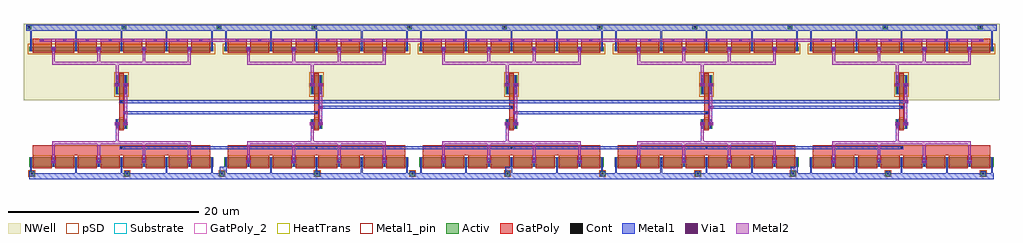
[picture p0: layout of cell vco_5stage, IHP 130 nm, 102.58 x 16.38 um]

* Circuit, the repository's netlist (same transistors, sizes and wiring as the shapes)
* VCO 5-stage ring oscillator — LVS schematic (expanded for ng>1)
* 20 devices: Mnb1-5 (ng=8), Mpd1-5 (ng=1), Mpu1-5 (ng=1), Mpb1-5 (ng=8)
* Ring: vco{i} → Mpd{i+1}.G + Mpu{i+1}.G, vco5 → Mpd1.G + Mpu1.G

.subckt vco_5stage nmos_bias pmos_bias gnd vdd
* --- Stage 1: vco5→gates, output=vco1 ---
MMnb1_0 nb1 nmos_bias gnd gnd sg13_lv_nmos w=1u l=2u ng=1 m=1
MMnb1_1 gnd nmos_bias nb1 gnd sg13_lv_nmos w=1u l=2u ng=1 m=1
MMnb1_2 nb1 nmos_bias gnd gnd sg13_lv_nmos w=1u l=2u ng=1 m=1
MMnb1_3 gnd nmos_bias nb1 gnd sg13_lv_nmos w=1u l=2u ng=1 m=1
MMnb1_4 nb1 nmos_bias gnd gnd sg13_lv_nmos w=1u l=2u ng=1 m=1
MMnb1_5 gnd nmos_bias nb1 gnd sg13_lv_nmos w=1u l=2u ng=1 m=1
MMnb1_6 nb1 nmos_bias gnd gnd sg13_lv_nmos w=1u l=2u ng=1 m=1
MMnb1_7 gnd nmos_bias nb1 gnd sg13_lv_nmos w=1u l=2u ng=1 m=1
MMpd1 vco1 vco5 nb1 gnd sg13_lv_nmos w=1u l=0.5u ng=1 m=1
MMpu1 vco1 vco5 ns1 vdd sg13_lv_pmos w=2u l=0.5u ng=1 m=1
MMpb1_0 ns1 pmos_bias vdd vdd sg13_lv_pmos w=0.5u l=2u ng=1 m=1
MMpb1_1 vdd pmos_bias ns1 vdd sg13_lv_pmos w=0.5u l=2u ng=1 m=1
MMpb1_2 ns1 pmos_bias vdd vdd sg13_lv_pmos w=0.5u l=2u ng=1 m=1
MMpb1_3 vdd pmos_bias ns1 vdd sg13_lv_pmos w=0.5u l=2u ng=1 m=1
MMpb1_4 ns1 pmos_bias vdd vdd sg13_lv_pmos w=0.5u l=2u ng=1 m=1
MMpb1_5 vdd pmos_bias ns1 vdd sg13_lv_pmos w=0.5u l=2u ng=1 m=1
MMpb1_6 ns1 pmos_bias vdd vdd sg13_lv_pmos w=0.5u l=2u ng=1 m=1
MMpb1_7 vdd pmos_bias ns1 vdd sg13_lv_pmos w=0.5u l=2u ng=1 m=1
* --- Stage 2: vco1→gates, output=vco2 ---
MMnb2_0 nb2 nmos_bias gnd gnd sg13_lv_nmos w=1u l=2u ng=1 m=1
MMnb2_1 gnd nmos_bias nb2 gnd sg13_lv_nmos w=1u l=2u ng=1 m=1
MMnb2_2 nb2 nmos_bias gnd gnd sg13_lv_nmos w=1u l=2u ng=1 m=1
MMnb2_3 gnd nmos_bias nb2 gnd sg13_lv_nmos w=1u l=2u ng=1 m=1
MMnb2_4 nb2 nmos_bias gnd gnd sg13_lv_nmos w=1u l=2u ng=1 m=1
MMnb2_5 gnd nmos_bias nb2 gnd sg13_lv_nmos w=1u l=2u ng=1 m=1
MMnb2_6 nb2 nmos_bias gnd gnd sg13_lv_nmos w=1u l=2u ng=1 m=1
MMnb2_7 gnd nmos_bias nb2 gnd sg13_lv_nmos w=1u l=2u ng=1 m=1
MMpd2 vco2 vco1 nb2 gnd sg13_lv_nmos w=1u l=0.5u ng=1 m=1
MMpu2 vco2 vco1 ns2 vdd sg13_lv_pmos w=2u l=0.5u ng=1 m=1
MMpb2_0 ns2 pmos_bias vdd vdd sg13_lv_pmos w=0.5u l=2u ng=1 m=1
MMpb2_1 vdd pmos_bias ns2 vdd sg13_lv_pmos w=0.5u l=2u ng=1 m=1
MMpb2_2 ns2 pmos_bias vdd vdd sg13_lv_pmos w=0.5u l=2u ng=1 m=1
MMpb2_3 vdd pmos_bias ns2 vdd sg13_lv_pmos w=0.5u l=2u ng=1 m=1
MMpb2_4 ns2 pmos_bias vdd vdd sg13_lv_pmos w=0.5u l=2u ng=1 m=1
MMpb2_5 vdd pmos_bias ns2 vdd sg13_lv_pmos w=0.5u l=2u ng=1 m=1
MMpb2_6 ns2 pmos_bias vdd vdd sg13_lv_pmos w=0.5u l=2u ng=1 m=1
MMpb2_7 vdd pmos_bias ns2 vdd sg13_lv_pmos w=0.5u l=2u ng=1 m=1
* --- Stage 3: vco2→gates, output=vco3 ---
MMnb3_0 nb3 nmos_bias gnd gnd sg13_lv_nmos w=1u l=2u ng=1 m=1
MMnb3_1 gnd nmos_bias nb3 gnd sg13_lv_nmos w=1u l=2u ng=1 m=1
MMnb3_2 nb3 nmos_bias gnd gnd sg13_lv_nmos w=1u l=2u ng=1 m=1
MMnb3_3 gnd nmos_bias nb3 gnd sg13_lv_nmos w=1u l=2u ng=1 m=1
MMnb3_4 nb3 nmos_bias gnd gnd sg13_lv_nmos w=1u l=2u ng=1 m=1
MMnb3_5 gnd nmos_bias nb3 gnd sg13_lv_nmos w=1u l=2u ng=1 m=1
MMnb3_6 nb3 nmos_bias gnd gnd sg13_lv_nmos w=1u l=2u ng=1 m=1
MMnb3_7 gnd nmos_bias nb3 gnd sg13_lv_nmos w=1u l=2u ng=1 m=1
MMpd3 vco3 vco2 nb3 gnd sg13_lv_nmos w=1u l=0.5u ng=1 m=1
MMpu3 vco3 vco2 ns3 vdd sg13_lv_pmos w=2u l=0.5u ng=1 m=1
MMpb3_0 ns3 pmos_bias vdd vdd sg13_lv_pmos w=0.5u l=2u ng=1 m=1
MMpb3_1 vdd pmos_bias ns3 vdd sg13_lv_pmos w=0.5u l=2u ng=1 m=1
MMpb3_2 ns3 pmos_bias vdd vdd sg13_lv_pmos w=0.5u l=2u ng=1 m=1
MMpb3_3 vdd pmos_bias ns3 vdd sg13_lv_pmos w=0.5u l=2u ng=1 m=1
MMpb3_4 ns3 pmos_bias vdd vdd sg13_lv_pmos w=0.5u l=2u ng=1 m=1
MMpb3_5 vdd pmos_bias ns3 vdd sg13_lv_pmos w=0.5u l=2u ng=1 m=1
MMpb3_6 ns3 pmos_bias vdd vdd sg13_lv_pmos w=0.5u l=2u ng=1 m=1
MMpb3_7 vdd pmos_bias ns3 vdd sg13_lv_pmos w=0.5u l=2u ng=1 m=1
* --- Stage 4: vco3→gates, output=vco4 ---
MMnb4_0 nb4 nmos_bias gnd gnd sg13_lv_nmos w=1u l=2u ng=1 m=1
MMnb4_1 gnd nmos_bias nb4 gnd sg13_lv_nmos w=1u l=2u ng=1 m=1
MMnb4_2 nb4 nmos_bias gnd gnd sg13_lv_nmos w=1u l=2u ng=1 m=1
MMnb4_3 gnd nmos_bias nb4 gnd sg13_lv_nmos w=1u l=2u ng=1 m=1
MMnb4_4 nb4 nmos_bias gnd gnd sg13_lv_nmos w=1u l=2u ng=1 m=1
MMnb4_5 gnd nmos_bias nb4 gnd sg13_lv_nmos w=1u l=2u ng=1 m=1
MMnb4_6 nb4 nmos_bias gnd gnd sg13_lv_nmos w=1u l=2u ng=1 m=1
MMnb4_7 gnd nmos_bias nb4 gnd sg13_lv_nmos w=1u l=2u ng=1 m=1
MMpd4 vco4 vco3 nb4 gnd sg13_lv_nmos w=1u l=0.5u ng=1 m=1
MMpu4 vco4 vco3 ns4 vdd sg13_lv_pmos w=2u l=0.5u ng=1 m=1
MMpb4_0 ns4 pmos_bias vdd vdd sg13_lv_pmos w=0.5u l=2u ng=1 m=1
MMpb4_1 vdd pmos_bias ns4 vdd sg13_lv_pmos w=0.5u l=2u ng=1 m=1
MMpb4_2 ns4 pmos_bias vdd vdd sg13_lv_pmos w=0.5u l=2u ng=1 m=1
MMpb4_3 vdd pmos_bias ns4 vdd sg13_lv_pmos w=0.5u l=2u ng=1 m=1
MMpb4_4 ns4 pmos_bias vdd vdd sg13_lv_pmos w=0.5u l=2u ng=1 m=1
MMpb4_5 vdd pmos_bias ns4 vdd sg13_lv_pmos w=0.5u l=2u ng=1 m=1
MMpb4_6 ns4 pmos_bias vdd vdd sg13_lv_pmos w=0.5u l=2u ng=1 m=1
MMpb4_7 vdd pmos_bias ns4 vdd sg13_lv_pmos w=0.5u l=2u ng=1 m=1
* --- Stage 5: vco4→gates, output=vco5 ---
MMnb5_0 nb5 nmos_bias gnd gnd sg13_lv_nmos w=1u l=2u ng=1 m=1
MMnb5_1 gnd nmos_bias nb5 gnd sg13_lv_nmos w=1u l=2u ng=1 m=1
MMnb5_2 nb5 nmos_bias gnd gnd sg13_lv_nmos w=1u l=2u ng=1 m=1
MMnb5_3 gnd nmos_bias nb5 gnd sg13_lv_nmos w=1u l=2u ng=1 m=1
MMnb5_4 nb5 nmos_bias gnd gnd sg13_lv_nmos w=1u l=2u ng=1 m=1
MMnb5_5 gnd nmos_bias nb5 gnd sg13_lv_nmos w=1u l=2u ng=1 m=1
MMnb5_6 nb5 nmos_bias gnd gnd sg13_lv_nmos w=1u l=2u ng=1 m=1
MMnb5_7 gnd nmos_bias nb5 gnd sg13_lv_nmos w=1u l=2u ng=1 m=1
MMpd5 vco5 vco4 nb5 gnd sg13_lv_nmos w=1u l=0.5u ng=1 m=1
MMpu5 vco5 vco4 ns5 vdd sg13_lv_pmos w=2u l=0.5u ng=1 m=1
MMpb5_0 ns5 pmos_bias vdd vdd sg13_lv_pmos w=0.5u l=2u ng=1 m=1
MMpb5_1 vdd pmos_bias ns5 vdd sg13_lv_pmos w=0.5u l=2u ng=1 m=1
MMpb5_2 ns5 pmos_bias vdd vdd sg13_lv_pmos w=0.5u l=2u ng=1 m=1
MMpb5_3 vdd pmos_bias ns5 vdd sg13_lv_pmos w=0.5u l=2u ng=1 m=1
MMpb5_4 ns5 pmos_bias vdd vdd sg13_lv_pmos w=0.5u l=2u ng=1 m=1
MMpb5_5 vdd pmos_bias ns5 vdd sg13_lv_pmos w=0.5u l=2u ng=1 m=1
MMpb5_6 ns5 pmos_bias vdd vdd sg13_lv_pmos w=0.5u l=2u ng=1 m=1
MMpb5_7 vdd pmos_bias ns5 vdd sg13_lv_pmos w=0.5u l=2u ng=1 m=1
.ends vco_5stage

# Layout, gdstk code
import gdstk
lib = gdstk.Library(unit=1e-6, precision=1e-09)
def R(c, l, rs):  # rectangles x0, y0, x1, y1
    for r in rs: c.add(gdstk.rectangle(r[:2], r[2:], *l))
def A(c, l, x, y, w, h, nx, ny, dx, dy):  # array of equal rectangles
    R(c, l, [(x+i*dx, y+j*dy, x+i*dx+w, y+j*dy+h) for i in range(nx) for j in range(ny)])
Activ = (1, 0)
GatPoly = (5, 0)
GatPoly_2 = (5, 2)
Cont = (6, 0)
Metal1 = (8, 0)
Metal1_pin = (8, 2)
Metal2 = (10, 0)
pSD = (14, 0)
Via1 = (19, 0)
NWell = (31, 0)
Substrate = (40, 0)
HeatTrans = (51, 0)

nmos = lib.new_cell('nmos')
A(nmos, Activ, 0, 0, 0.3, 0.3, 9, 1, 2.38, 0)
R(nmos, Activ, [(0,0,19.34,1)])
A(nmos, GatPoly, 0.34, -0.18, 2, 1.36, 8, 1, 2.38, 0)
R(nmos, GatPoly_2, [(0.34,-0.18,2.34,1.18)])
A(nmos, Cont, 0.07, 0.07, 0.16, 0.16, 9, 3, 2.38, 0.35)
A(nmos, Metal1, 0.07, 0, 0.16, 1, 9, 1, 2.38, 0)
R(nmos, Metal1_pin, [(0.07,0,0.23,1), (2.45,0,2.61,1)])
A(nmos, HeatTrans, 0.34, -0.18, 2, 1.36, 8, 1, 2.38, 0)
nmos.add(gdstk.Label('nmos', (1.34,0.5), layer=63, texttype=0))
nmos.add(gdstk.Label('nmos', (1.34,0.5), layer=51, texttype=0))
nmos.add(gdstk.Label('nmos', (3.72,0.5), layer=51, texttype=0))
nmos.add(gdstk.Label('nmos', (6.1,0.5), layer=51, texttype=0))
nmos.add(gdstk.Label('nmos', (8.48,0.5), layer=51, texttype=0))
nmos.add(gdstk.Label('nmos', (10.86,0.5), layer=51, texttype=0))
nmos.add(gdstk.Label('nmos', (13.24,0.5), layer=51, texttype=0))
nmos.add(gdstk.Label('nmos', (15.62,0.5), layer=51, texttype=0))
nmos.add(gdstk.Label('nmos', (18,0.5), layer=51, texttype=0))

nmos_1 = lib.new_cell('nmos$1')
R(nmos_1, Activ, [(0,0,0.3,0.3), (0,0,1.18,1), (0.88,0,1.18,0.3)])
R(nmos_1, GatPoly, [(0.34,-0.18,0.84,1.18)])
R(nmos_1, GatPoly_2, [(0.34,-0.18,0.84,1.18)])
A(nmos_1, Cont, 0.07, 0.07, 0.16, 0.16, 1, 3, 0, 0.35)
A(nmos_1, Cont, 0.95, 0.07, 0.16, 0.16, 1, 3, 0, 0.35)
R(nmos_1, Metal1, [(0.07,0,0.23,1), (0.95,0,1.11,1)])
R(nmos_1, Metal1_pin, [(0.07,0,0.23,1), (0.95,0,1.11,1)])
R(nmos_1, HeatTrans, [(0.34,-0.18,0.84,1.18)])
nmos_1.add(gdstk.Label('nmos', (0.59,0.5), layer=63, texttype=0))
nmos_1.add(gdstk.Label('nmos', (0.59,0.5), layer=51, texttype=0))

pmos = lib.new_cell('pmos')
R(pmos, Activ, [(0,0,0.3,0.3), (0,0,1.18,2), (0.88,0,1.18,0.3)])
R(pmos, GatPoly, [(0.34,-0.18,0.84,2.18), (0.34,-0.18,0.84,2.18)])
A(pmos, Cont, 0.07, 0.07, 0.16, 0.16, 1, 6, 0, 0.34)
A(pmos, Cont, 0.95, 0.07, 0.16, 0.16, 1, 6, 0, 0.34)
R(pmos, Metal1, [(0.07,0,0.23,2), (0.07,0,0.23,2), (0.95,0,1.11,2), (0.95,0,1.11,2)])
R(pmos, pSD, [(-0.18,-0.3,1.36,2.3)])
R(pmos, NWell, [(-0.31,-0.31,1.49,2.31)])
R(pmos, Substrate, [(0.88,0,1.18,0.3)])
R(pmos, HeatTrans, [(0.34,-0.18,0.84,2.18)])
pmos.add(gdstk.Label('pmos', (0.59,1), layer=63, texttype=0))
pmos.add(gdstk.Label('pmos', (0.59,1), layer=51, texttype=0))

pmos_1 = lib.new_cell('pmos$1')
A(pmos_1, Activ, 0, 0, 0.3, 0.3, 9, 1, 2.38, 0)
R(pmos_1, Activ, [(0,0,19.34,0.5)])
A(pmos_1, GatPoly, 0.34, -0.18, 2, 0.86, 8, 1, 2.38, 0)
R(pmos_1, GatPoly, [(0.34,-0.18,2.34,0.68)])
A(pmos_1, Cont, 0.07, 0.17, 0.16, 0.16, 9, 1, 2.38, 0)
A(pmos_1, Metal1, 2.45, 0, 0.16, 0.5, 8, 1, 2.38, 0)
R(pmos_1, Metal1, [(0.07,0,0.23,0.5), (0.07,0,0.23,0.5), (2.45,0,2.61,0.5)])
R(pmos_1, pSD, [(-0.18,-0.3,19.52,0.8)])
R(pmos_1, NWell, [(-0.31,-0.31,19.65,0.81)])
R(pmos_1, Substrate, [(19.04,0,19.34,0.3)])
A(pmos_1, HeatTrans, 0.34, -0.18, 2, 0.86, 8, 1, 2.38, 0)
pmos_1.add(gdstk.Label('pmos', (1.34,0.25), layer=63, texttype=0))
pmos_1.add(gdstk.Label('pmos', (1.34,0.25), layer=51, texttype=0))
pmos_1.add(gdstk.Label('pmos', (3.72,0.25), layer=51, texttype=0))
pmos_1.add(gdstk.Label('pmos', (6.1,0.25), layer=51, texttype=0))
pmos_1.add(gdstk.Label('pmos', (8.48,0.25), layer=51, texttype=0))
pmos_1.add(gdstk.Label('pmos', (10.86,0.25), layer=51, texttype=0))
pmos_1.add(gdstk.Label('pmos', (13.24,0.25), layer=51, texttype=0))
pmos_1.add(gdstk.Label('pmos', (15.62,0.25), layer=51, texttype=0))
pmos_1.add(gdstk.Label('pmos', (18,0.25), layer=51, texttype=0))

vco_5stage = lib.new_cell('vco_5stage')
A(vco_5stage, Activ, 0.31, -0.8, 0.5, 0.5, 11, 1, 10, 0)
A(vco_5stage, Activ, 0, 14.62, 0.5, 0.5, 11, 1, 10, 0)
A(vco_5stage, GatPoly, 0.65, 1.36, 18.66, 1.07, 5, 1, 20.5, 0)
A(vco_5stage, GatPoly, 0.65, 1.36, 2, 1.07, 8, 1, 2.38, 0)
A(vco_5stage, GatPoly, 21.15, 1.36, 2, 1.07, 8, 1, 2.38, 0)
A(vco_5stage, GatPoly, 41.65, 1.36, 2, 1.07, 8, 1, 2.38, 0)
A(vco_5stage, GatPoly, 62.15, 1.36, 2, 1.07, 8, 1, 2.38, 0)
A(vco_5stage, GatPoly, 82.65, 1.36, 2, 1.07, 8, 1, 2.38, 0)
A(vco_5stage, GatPoly, 0.65, 12.99, 2, 0.65, 8, 1, 2.38, 0)
A(vco_5stage, GatPoly, 21.15, 12.99, 2, 0.65, 8, 1, 2.38, 0)
A(vco_5stage, GatPoly, 41.65, 12.99, 2, 0.65, 8, 1, 2.38, 0)
A(vco_5stage, GatPoly, 62.15, 12.99, 2, 0.65, 8, 1, 2.38, 0)
A(vco_5stage, GatPoly, 82.65, 12.99, 2, 0.65, 8, 1, 2.38, 0)
R(vco_5stage, GatPoly, [(9.73,5.36,10.23,7.08), (30.23,5.36,30.73,5.94), (50.73,5.36,51.23,6.51), (71.23,5.36,71.73,5.94), (91.73,5.36,92.23,6.51), (30.23,5.78,30.73,7.63), (71.23,5.78,71.73,7.63), (50.73,6.35,51.23,7.63), (91.73,6.35,92.23,7.63), (9.73,6.92,10.23,7.63)])
A(vco_5stage, Cont, 0.48, -0.63, 0.16, 0.16, 11, 1, 10, 0)
A(vco_5stage, Cont, 9.9, 2.1, 0.16, 0.16, 5, 1, 20.5, 0)
A(vco_5stage, Cont, 1.57, 13.41, 0.16, 0.16, 8, 1, 2.38, 0)
A(vco_5stage, Cont, 22.07, 13.41, 0.16, 0.16, 8, 1, 2.38, 0)
A(vco_5stage, Cont, 42.57, 13.41, 0.16, 0.16, 8, 1, 2.38, 0)
A(vco_5stage, Cont, 63.07, 13.41, 0.16, 0.16, 8, 1, 2.38, 0)
A(vco_5stage, Cont, 83.57, 13.41, 0.16, 0.16, 8, 1, 2.38, 0)
A(vco_5stage, Cont, 0.17, 14.79, 0.16, 0.16, 11, 1, 10, 0)
R(vco_5stage, Cont, [(30.4,5.78,30.56,5.94), (71.4,5.78,71.56,5.94), (50.9,6.35,51.06,6.51), (91.9,6.35,92.06,6.51), (9.9,6.92,10.06,7.08)])
A(vco_5stage, Metal1, 0.38, -0.845, 0.16, 1.025, 5, 1, 4.76, 0)
A(vco_5stage, Metal1, 25.64, -0.845, 0.16, 1.025, 4, 1, 4.76, 0)
A(vco_5stage, Metal1, 61.88, -0.845, 0.16, 1.025, 4, 1, 4.76, 0)
A(vco_5stage, Metal1, 82.38, -0.845, 0.16, 1.025, 5, 1, 4.76, 0)
A(vco_5stage, Metal1, 0.31, -0.8, 0.5, 0.5, 11, 1, 10, 0)
A(vco_5stage, Metal1, 9.825, 2.025, 0.31, 0.31, 5, 1, 20.5, 0)
A(vco_5stage, Metal1, 0.38, 12.81, 0.16, 1.655, 5, 1, 4.76, 0)
A(vco_5stage, Metal1, 20.88, 12.81, 0.16, 1.655, 5, 1, 4.76, 0)
A(vco_5stage, Metal1, 41.38, 12.81, 0.16, 1.655, 5, 1, 4.76, 0)
A(vco_5stage, Metal1, 61.88, 12.81, 0.16, 1.655, 5, 1, 4.76, 0)
A(vco_5stage, Metal1, 82.38, 12.81, 0.16, 1.655, 5, 1, 4.76, 0)
A(vco_5stage, Metal1, 1.495, 13.335, 0.31, 0.31, 8, 1, 2.38, 0)
A(vco_5stage, Metal1, 21.995, 13.335, 0.31, 0.31, 8, 1, 2.38, 0)
A(vco_5stage, Metal1, 42.495, 13.335, 0.31, 0.31, 8, 1, 2.38, 0)
A(vco_5stage, Metal1, 62.995, 13.335, 0.31, 0.31, 8, 1, 2.38, 0)
A(vco_5stage, Metal1, 83.495, 13.335, 0.31, 0.31, 8, 1, 2.38, 0)
A(vco_5stage, Metal1, 0, 14.62, 0.5, 0.5, 11, 1, 10, 0)
R(vco_5stage, Metal1, [(0.31,-1.155,101.65,-0.5), (20.31,-0.845,21.04,0.18), (41.38,-0.845,41.54,0.18), (46.14,-0.845,46.3,0.18), (50.31,-0.845,51.06,0.18), (55.66,-0.845,55.82,0.18), (60.42,-0.845,60.58,0.18), (80.31,-0.845,81.08,0.18), (2.685,0.525,2.995,0.835), (7.445,0.525,7.755,0.835), (7.445,0.525,7.755,0.835), (12.205,0.525,12.515,0.835), (12.205,0.525,12.515,0.835), (16.965,0.525,17.275,0.835), (16.965,0.525,17.275,0.835), (23.185,0.525,23.495,0.835), (27.945,0.525,28.255,0.835), (27.945,0.525,28.255,0.835), (32.705,0.525,33.015,0.835), (32.705,0.525,33.015,0.835), (37.465,0.525,37.775,0.835), (37.465,0.525,37.775,0.835), (43.685,0.525,43.995,0.835), (48.445,0.525,48.755,0.835), (48.445,0.525,48.755,0.835), (53.205,0.525,53.515,0.835), (53.205,0.525,53.515,0.835), (57.965,0.525,58.275,0.835), (57.965,0.525,58.275,0.835), (64.185,0.525,64.495,0.835), (68.945,0.525,69.255,0.835), (68.945,0.525,69.255,0.835), (73.705,0.525,74.015,0.835), (73.705,0.525,74.015,0.835), (78.465,0.525,78.775,0.835), (78.465,0.525,78.775,0.835), (84.685,0.525,84.995,0.835), (89.445,0.525,89.755,0.835), (89.445,0.525,89.755,0.835), (94.205,0.525,94.515,0.835), (94.205,0.525,94.515,0.835), (98.965,0.525,99.275,0.835), (98.965,0.525,99.275,0.835), (9.825,2.025,92.135,2.335), (9.385,4.525,9.695,4.835), (10.265,4.525,10.575,4.835), (29.885,4.525,30.195,4.835), (30.765,4.525,31.075,4.835), (50.385,4.525,50.695,4.835), (51.265,4.525,51.575,4.835), (70.885,4.525,71.195,4.835), (71.765,4.525,72.075,4.835), (91.385,4.525,91.695,4.835), (92.265,4.525,92.575,4.835), (10.265,5.705,10.575,6.015), (10.265,5.705,30.635,6.015), (30.325,5.705,30.635,6.015), (51.265,5.705,51.575,6.015), (51.265,5.705,71.635,6.015), (71.325,5.705,71.635,6.015), (30.765,6.275,31.075,6.585), (30.765,6.275,51.135,6.585), (50.825,6.275,51.135,6.585), (71.765,6.275,72.075,6.585), (71.765,6.275,92.135,6.585), (91.825,6.275,92.135,6.585), (9.825,6.845,10.135,7.155), (9.825,6.845,92.575,7.155), (92.265,6.845,92.575,7.155), (9.385,8.655,9.695,8.965), (10.265,8.655,10.575,8.965), (29.885,8.655,30.195,8.965), (30.765,8.655,31.075,8.965), (50.385,8.655,50.695,8.965), (51.265,8.655,51.575,8.965), (70.885,8.655,71.195,8.965), (71.765,8.655,72.075,8.965), (91.385,8.655,91.695,8.965), (92.265,8.655,92.575,8.965), (2.685,12.405,2.995,12.715), (7.445,12.405,7.755,12.715), (7.445,12.405,7.755,12.715), (12.205,12.405,12.515,12.715), (12.205,12.405,12.515,12.715), (16.965,12.405,17.275,12.715), (16.965,12.405,17.275,12.715), (23.185,12.405,23.495,12.715), (27.945,12.405,28.255,12.715), (27.945,12.405,28.255,12.715), (32.705,12.405,33.015,12.715), (32.705,12.405,33.015,12.715), (37.465,12.405,37.775,12.715), (37.465,12.405,37.775,12.715), (43.685,12.405,43.995,12.715), (48.445,12.405,48.755,12.715), (48.445,12.405,48.755,12.715), (53.205,12.405,53.515,12.715), (53.205,12.405,53.515,12.715), (57.965,12.405,58.275,12.715), (57.965,12.405,58.275,12.715), (64.185,12.405,64.495,12.715), (68.945,12.405,69.255,12.715), (68.945,12.405,69.255,12.715), (73.705,12.405,74.015,12.715), (73.705,12.405,74.015,12.715), (78.465,12.405,78.775,12.715), (78.465,12.405,78.775,12.715), (84.685,12.405,84.995,12.715), (89.445,12.405,89.755,12.715), (89.445,12.405,89.755,12.715), (94.205,12.405,94.515,12.715), (94.205,12.405,94.515,12.715), (98.965,12.405,99.275,12.715), (98.965,12.405,99.275,12.715), (0,14.465,101.96,15.12)])
A(vco_5stage, Metal2, 2.69, 0.525, 0.3, 2.31, 4, 1, 4.76, 0)
A(vco_5stage, Metal2, 23.19, 0.525, 0.3, 2.31, 4, 1, 4.76, 0)
A(vco_5stage, Metal2, 43.69, 0.525, 0.3, 2.31, 4, 1, 4.76, 0)
A(vco_5stage, Metal2, 64.19, 0.525, 0.3, 2.31, 4, 1, 4.76, 0)
A(vco_5stage, Metal2, 84.69, 0.525, 0.3, 2.31, 4, 1, 4.76, 0)
A(vco_5stage, Metal2, 2.69, 2.525, 14.58, 0.31, 5, 2, 20.5, 8.38)
A(vco_5stage, Metal2, 9.39, 2.525, 0.3, 2.31, 5, 1, 20.5, 0)
A(vco_5stage, Metal2, 10.27, 4.525, 0.3, 2.06, 5, 1, 20.5, 0)
A(vco_5stage, Metal2, 10.27, 6.275, 0.3, 2.69, 5, 1, 20.5, 0)
A(vco_5stage, Metal2, 10.27, 6.275, 0.3, 0.31, 5, 1, 20.5, 0)
A(vco_5stage, Metal2, 9.39, 8.655, 0.3, 2.56, 5, 1, 20.5, 0)
A(vco_5stage, Metal2, 2.69, 10.905, 0.3, 1.81, 4, 1, 4.76, 0)
A(vco_5stage, Metal2, 23.19, 10.905, 0.3, 1.81, 4, 1, 4.76, 0)
A(vco_5stage, Metal2, 43.69, 10.905, 0.3, 1.81, 4, 1, 4.76, 0)
A(vco_5stage, Metal2, 64.19, 10.905, 0.3, 1.81, 4, 1, 4.76, 0)
A(vco_5stage, Metal2, 84.69, 10.905, 0.3, 1.81, 4, 1, 4.76, 0)
A(vco_5stage, Metal2, 1.405, 13.335, 0.49, 0.31, 8, 1, 2.38, 0)
A(vco_5stage, Metal2, 21.905, 13.335, 0.49, 0.31, 8, 1, 2.38, 0)
A(vco_5stage, Metal2, 42.405, 13.335, 0.49, 0.31, 8, 1, 2.38, 0)
A(vco_5stage, Metal2, 62.905, 13.335, 0.49, 0.31, 8, 1, 2.38, 0)
A(vco_5stage, Metal2, 83.405, 13.335, 0.49, 0.31, 8, 1, 2.38, 0)
R(vco_5stage, Metal2, [(2.595,0.525,3.085,0.835), (7.355,0.525,7.845,0.835), (7.355,0.525,7.845,0.835), (12.115,0.525,12.605,0.835), (12.115,0.525,12.605,0.835), (16.875,0.525,17.365,0.835), (16.875,0.525,17.365,0.835), (23.095,0.525,23.585,0.835), (27.855,0.525,28.345,0.835), (27.855,0.525,28.345,0.835), (32.615,0.525,33.105,0.835), (32.615,0.525,33.105,0.835), (37.375,0.525,37.865,0.835), (37.375,0.525,37.865,0.835), (43.595,0.525,44.085,0.835), (48.355,0.525,48.845,0.835), (48.355,0.525,48.845,0.835), (53.115,0.525,53.605,0.835), (53.115,0.525,53.605,0.835), (57.875,0.525,58.365,0.835), (57.875,0.525,58.365,0.835), (64.095,0.525,64.585,0.835), (68.855,0.525,69.345,0.835), (68.855,0.525,69.345,0.835), (73.615,0.525,74.105,0.835), (73.615,0.525,74.105,0.835), (78.375,0.525,78.865,0.835), (78.375,0.525,78.865,0.835), (84.595,0.525,85.085,0.835), (89.355,0.525,89.845,0.835), (89.355,0.525,89.845,0.835), (94.115,0.525,94.605,0.835), (94.115,0.525,94.605,0.835), (98.875,0.525,99.365,0.835), (98.875,0.525,99.365,0.835), (9.295,4.525,9.785,4.835), (10.175,4.525,10.665,4.835), (29.795,4.525,30.285,4.835), (30.675,4.525,31.165,4.835), (50.295,4.525,50.785,4.835), (51.175,4.525,51.665,4.835), (70.795,4.525,71.285,4.835), (71.675,4.525,72.165,4.835), (91.295,4.525,91.785,4.835), (92.175,4.525,92.665,4.835), (10.175,5.705,10.665,6.015), (10.27,5.705,10.57,6.585), (51.175,5.705,51.665,6.015), (51.27,5.705,51.57,6.585), (30.675,6.275,31.165,6.585), (71.675,6.275,72.165,6.585), (92.27,6.275,92.57,7.155), (92.175,6.845,92.665,7.155), (9.295,8.655,9.785,8.965), (10.175,8.655,10.665,8.965), (29.795,8.655,30.285,8.965), (30.675,8.655,31.165,8.965), (50.295,8.655,50.785,8.965), (51.175,8.655,51.665,8.965), (70.795,8.655,71.285,8.965), (71.675,8.655,72.165,8.965), (91.295,8.655,91.785,8.965), (92.175,8.655,92.665,8.965), (2.595,12.405,3.085,12.715), (7.355,12.405,7.845,12.715), (7.355,12.405,7.845,12.715), (12.115,12.405,12.605,12.715), (12.115,12.405,12.605,12.715), (16.875,12.405,17.365,12.715), (16.875,12.405,17.365,12.715), (23.095,12.405,23.585,12.715), (27.855,12.405,28.345,12.715), (27.855,12.405,28.345,12.715), (32.615,12.405,33.105,12.715), (32.615,12.405,33.105,12.715), (37.375,12.405,37.865,12.715), (37.375,12.405,37.865,12.715), (43.595,12.405,44.085,12.715), (48.355,12.405,48.845,12.715), (48.355,12.405,48.845,12.715), (53.115,12.405,53.605,12.715), (53.115,12.405,53.605,12.715), (57.875,12.405,58.365,12.715), (57.875,12.405,58.365,12.715), (64.095,12.405,64.585,12.715), (68.855,12.405,69.345,12.715), (68.855,12.405,69.345,12.715), (73.615,12.405,74.105,12.715), (73.615,12.405,74.105,12.715), (78.375,12.405,78.865,12.715), (78.375,12.405,78.865,12.715), (84.595,12.405,85.085,12.715), (89.355,12.405,89.845,12.715), (89.355,12.405,89.845,12.715), (94.115,12.405,94.605,12.715), (94.115,12.405,94.605,12.715), (98.875,12.405,99.365,12.715), (98.875,12.405,99.365,12.715), (1.5,13.335,100.46,13.645)])
A(vco_5stage, pSD, 0.21, -0.9, 0.7, 0.7, 11, 1, 10, 0)
A(vco_5stage, Via1, 1.555, 13.395, 0.19, 0.19, 8, 1, 2.38, 0)
A(vco_5stage, Via1, 22.055, 13.395, 0.19, 0.19, 8, 1, 2.38, 0)
A(vco_5stage, Via1, 42.555, 13.395, 0.19, 0.19, 8, 1, 2.38, 0)
A(vco_5stage, Via1, 63.055, 13.395, 0.19, 0.19, 8, 1, 2.38, 0)
A(vco_5stage, Via1, 83.555, 13.395, 0.19, 0.19, 8, 1, 2.38, 0)
R(vco_5stage, Via1, [(2.745,0.585,2.935,0.775), (7.505,0.585,7.695,0.775), (7.505,0.585,7.695,0.775), (12.265,0.585,12.455,0.775), (12.265,0.585,12.455,0.775), (17.025,0.585,17.215,0.775), (17.025,0.585,17.215,0.775), (23.245,0.585,23.435,0.775), (28.005,0.585,28.195,0.775), (28.005,0.585,28.195,0.775), (32.765,0.585,32.955,0.775), (32.765,0.585,32.955,0.775), (37.525,0.585,37.715,0.775), (37.525,0.585,37.715,0.775), (43.745,0.585,43.935,0.775), (48.505,0.585,48.695,0.775), (48.505,0.585,48.695,0.775), (53.265,0.585,53.455,0.775), (53.265,0.585,53.455,0.775), (58.025,0.585,58.215,0.775), (58.025,0.585,58.215,0.775), (64.245,0.585,64.435,0.775), (69.005,0.585,69.195,0.775), (69.005,0.585,69.195,0.775), (73.765,0.585,73.955,0.775), (73.765,0.585,73.955,0.775), (78.525,0.585,78.715,0.775), (78.525,0.585,78.715,0.775), (84.745,0.585,84.935,0.775), (89.505,0.585,89.695,0.775), (89.505,0.585,89.695,0.775), (94.265,0.585,94.455,0.775), (94.265,0.585,94.455,0.775), (99.025,0.585,99.215,0.775), (99.025,0.585,99.215,0.775), (9.445,4.585,9.635,4.775), (10.325,4.585,10.515,4.775), (29.945,4.585,30.135,4.775), (30.825,4.585,31.015,4.775), (50.445,4.585,50.635,4.775), (51.325,4.585,51.515,4.775), (70.945,4.585,71.135,4.775), (71.825,4.585,72.015,4.775), (91.445,4.585,91.635,4.775), (92.325,4.585,92.515,4.775), (10.325,5.765,10.515,5.955), (51.325,5.765,51.515,5.955), (30.825,6.335,31.015,6.525), (71.825,6.335,72.015,6.525), (92.325,6.905,92.515,7.095), (9.445,8.715,9.635,8.905), (10.325,8.715,10.515,8.905), (29.945,8.715,30.135,8.905), (30.825,8.715,31.015,8.905), (50.445,8.715,50.635,8.905), (51.325,8.715,51.515,8.905), (70.945,8.715,71.135,8.905), (71.825,8.715,72.015,8.905), (91.445,8.715,91.635,8.905), (92.325,8.715,92.515,8.905), (2.745,12.465,2.935,12.655), (7.505,12.465,7.695,12.655), (7.505,12.465,7.695,12.655), (12.265,12.465,12.455,12.655), (12.265,12.465,12.455,12.655), (17.025,12.465,17.215,12.655), (17.025,12.465,17.215,12.655), (23.245,12.465,23.435,12.655), (28.005,12.465,28.195,12.655), (28.005,12.465,28.195,12.655), (32.765,12.465,32.955,12.655), (32.765,12.465,32.955,12.655), (37.525,12.465,37.715,12.655), (37.525,12.465,37.715,12.655), (43.745,12.465,43.935,12.655), (48.505,12.465,48.695,12.655), (48.505,12.465,48.695,12.655), (53.265,12.465,53.455,12.655), (53.265,12.465,53.455,12.655), (58.025,12.465,58.215,12.655), (58.025,12.465,58.215,12.655), (64.245,12.465,64.435,12.655), (69.005,12.465,69.195,12.655), (69.005,12.465,69.195,12.655), (73.765,12.465,73.955,12.655), (73.765,12.465,73.955,12.655), (78.525,12.465,78.715,12.655), (78.525,12.465,78.715,12.655), (84.745,12.465,84.935,12.655), (89.505,12.465,89.695,12.655), (89.505,12.465,89.695,12.655), (94.265,12.465,94.455,12.655), (94.265,12.465,94.455,12.655), (99.025,12.465,99.215,12.655), (99.025,12.465,99.215,12.655)])
R(vco_5stage, NWell, [(-0.31,7.19,102.27,15.22)])
vco_5stage.add(gdstk.Reference(nmos, (0.31,0.18)))
vco_5stage.add(gdstk.Reference(nmos, (20.81,0.18)))
vco_5stage.add(gdstk.Reference(nmos, (41.31,0.18)))
vco_5stage.add(gdstk.Reference(nmos, (61.81,0.18)))
vco_5stage.add(gdstk.Reference(nmos, (82.31,0.18)))
vco_5stage.add(gdstk.Reference(nmos_1, (9.39,4.18)))
vco_5stage.add(gdstk.Reference(nmos_1, (29.89,4.18)))
vco_5stage.add(gdstk.Reference(nmos_1, (50.39,4.18)))
vco_5stage.add(gdstk.Reference(nmos_1, (70.89,4.18)))
vco_5stage.add(gdstk.Reference(nmos_1, (91.39,4.18)))
vco_5stage.add(gdstk.Reference(pmos, (9.39,7.81)))
vco_5stage.add(gdstk.Reference(pmos, (29.89,7.81)))
vco_5stage.add(gdstk.Reference(pmos, (50.39,7.81)))
vco_5stage.add(gdstk.Reference(pmos, (70.89,7.81)))
vco_5stage.add(gdstk.Reference(pmos, (91.39,7.81)))
vco_5stage.add(gdstk.Reference(pmos_1, (0.31,12.31)))
vco_5stage.add(gdstk.Reference(pmos_1, (20.81,12.31)))
vco_5stage.add(gdstk.Reference(pmos_1, (41.31,12.31)))
vco_5stage.add(gdstk.Reference(pmos_1, (61.81,12.31)))
vco_5stage.add(gdstk.Reference(pmos_1, (82.31,12.31)))

lib.write_gds('vco_5stage.gds')
